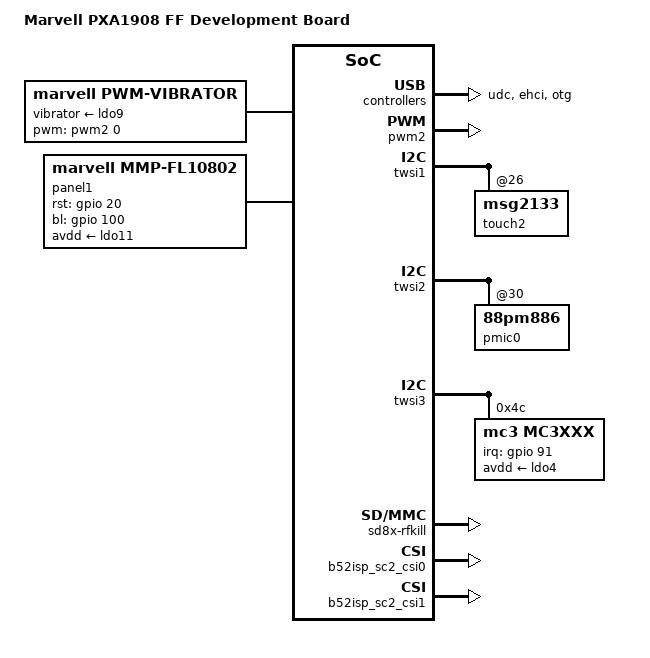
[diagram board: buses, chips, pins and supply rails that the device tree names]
/*
 *  Copyright (C) 2014 Marvell Technology Group Ltd.
 *  Author: Qiming Wu <wuqm@marvell.com>
 *
 *  This program is free software; you can redistribute it and/or modify
 *  it under the terms of the GNU General Public License version 2 as
 *  publishhed by the Free Software Foundation.
 */

/dts-v1/;
#include "pxa1908-board-common.dtsi"

/ {
	model = "Marvell PXA1908 FF Development Board";
	compatible = "marvell,pxa1908";

	soc {
		axi@d4200000 {  /* AXI */
			/* SD card */
			sdh0: sdh@d4280000 {
				cd-gpios = <>;
				marvell,sdh-dtr-data = <PXA_MMC_TIMING_LEGACY PXA_SDH_DTR_26M PXA_SDH_DTR_52M 0 0 0 0 0>,
						<PXA_MMC_TIMING_SD_HS PXA_SDH_DTR_52M PXA_SDH_DTR_104M 0 0 0 0 0>,
						<PXA_MMC_TIMING_MAX PXA_SDH_DTR_PS_NONE PXA_SDH_DTR_104M 0 0 0 0 0>;
			};

			usbphy: usbphy@d4207000 {
				status = "okay";
			};

			udc: udc@d4208100 {
				status = "okay";
			};

			ehci: ehci@d4208100 {
				status = "okay";
			};

			otg: otg@d4208100 {
				status = "okay";
			};
		};

		apb@d4000000 {
			pwm2: pwm@d401a400 {
				compatible = "marvell,pxa25x-pwm";
				reg = <0xd401a400 0x10>;
				#pwm-cells = <2>;
				clocks = <&soc_clocks PXA1U88_CLK_PWM1>;
				status = "okay";
			};

			keypad: keypad@d4012000 {
				marvell,direct-keys;
				marvell,direct-key-low-active;
				marvell,keypad-lpm-mod;
				marvell,direct-key-count = <2>;
				marvell,direct-key-mask = <0xff>;
				marvell,direct-key-map = < 0x72
							   0x73>;
				marvell,debounce-interval = <30>;
				pinctrl-names = "default";
				pinctrl-0 = <&keypad_in_func>;
				status = "okay";
			};

			pmx: pinmux@d401e000 {
				mfp_pins_group_0: mfp_pins_group_0 {
					pinctrl-single,pins = <
						DF_IO9 AF0
						DF_IO10 AF0
						DF_IO11 AF0
						DF_IO12 AF0
						DF_IO13 AF0
						DF_IO15 AF0
					>;
					DS_MEDIUM;PULL_DOWN;EDGE_NONE;LPM_NONE;
				};

				pwm2_pin: pwm2_pin {
					pinctrl-single,pins = <
						GPIO51 AF2
					>;
					MFP_DEFAULT;
				};

				lcd_bl_pin_func: lcd_bl_pin_func {
                                        pinctrl-single,pins = <
                                                DF_IO8 AF1
                                        >;
                                        MFP_DEFAULT;
                                };

				sspa1_func: sspa1_func {
					pinctrl-single,pins = <
						GPIO25 AF7
						GPIO26 AF7
						GPIO27 AF7
						GPIO28 AF7
					>;
					DS_MEDIUM;PULL_NONE;EDGE_NONE;LPM_NONE;
				};
			};

			twsi1: i2c@d4010800 {
				touch2: msg2133@26 {
					focaltech,virtual_key_cfg = <1>;
					status = "okay";
				};
			};

			twsi2: i2c@d4037000 {
				pmic0: 88pm886@30 {
					status = "okay";
					headset {
						marvell,headset-flag = <0>;
					};
				};
			};

			twsi3: i2c@d4013800 {
                                mc3xxx@4c {
					compatible = "mc3, mc3xxx";
					reg = <0x4c>;
					interrupt-parent = <&gpio>;
					interrupts = <91 0x1>;
					irq-gpios = <&gpio 91 0>;
					avdd-supply = <&ldo4>;
					status = "okay";
				};
			};
		};
	};

	vibrator {
		compatible = "marvell,pwm-vibrator";
		pwms = <&pwm2 0 1000>;
		min_timeout = <0>;
		duty_cycle = <800>;
		pinctrl-names = "default";
		pinctrl-0 = <&pwm2_pin>;
		vibrator-supply = <&ldo9>;
	};

	panel1: fl10802 {
		compatible = "marvell,mmp-fl10802";
		marvell,path-name = "mmp_pnpath";
		pinctrl-names = "default";
		pinctrl-0 = <&lcd_bl_pin_func>;
		panel_esd = <0>;
		rst_gpio = <&gpio 20 0>;
		bl_gpio = <&gpio 100 0>;
		avdd-supply = <&ldo11>;
		status = "okay";
	};

	sd8x-rfkill {
		sd-host = <&sdh1>;
		pd-gpio = <&gpio 7 0>;
		wib_3v3-supply = <&ldo15>;
		wib_1v8-supply = <&buck2>;
		3v3-ldo-gpio = <&gpio 14 0>;
		edge-wakeup-gpio = <&gpio 39 0>;
		status = "okay";
	};

	mcam0:mcam@0 {
		sc2-i2c-dyn-ctrl;
		pwdn-gpios = <&gpio 68 0>;
		reset-gpios = <&gpio 67 0>;
		/*
		af_2v8-supply = <&ldo10>;
		avdd_2v8-supply = <&ldo11>;
		dovdd_1v8-supply = <&voutsw>;
		dvdd_1v2-supply = <&ldo12>;
		*/
		dphy_val = <0xff1d00 0x00024733 0x04001001>;
		status = "disable";
	};

	mcam1:mcam@1 {
		sc2-i2c-dyn-ctrl;
		pwdn-gpios = <&gpio 70 0>;
		reset-gpios = <&gpio 69 0>;

		af_2v8-supply = <&ldo11>;
		avdd_2v8-supply = <&ldo10>;
		dovdd_1v8-supply = <&ldo9>;
		dvdd_1v2-supply = <&ldo8>;

		dphy_val = <0x1003 0x0011 0x1001>;
		status = "okay";
	};

	soc-camera@0 {
		status = "okay";
	};

	soc-camera@1 {
		status = "okay";
	};

	soc-camera@2 {
		status = "okay";
	};

	plat_cam {
		status = "okay";
		backsensor {
			compatible = "marvell,backsensor";
			#address-cells = <1>;
			#size-cells = <0>;
			status = "okay";

			OV5670: sensor@0 {
				compatible = "ovt,ov5670";
				status = "okay";
				clocks = <&soc_clocks PXA1U88_CLK_SC2_MCLK>;
				clock-names =  "SC2MCLK";
				reg = <0x36>;
				sc2-i2c-dyn-ctrl;
				adapter = <0x1>;
				sensor-pos = <1>;
				mclk = <26000000>;
				dphy3 = <0x1500>;
				dphy5 = <0xff>;
				dphy6 = <0x1001>;
				af_2v8-supply = <&ldo11>;
				avdd_2v8-supply = <&ldo10>;
				dovdd_1v8-supply = <&ldo9>;
				dvdd_1v2-supply = <&ldo8>;
				pwdn-gpios = <&gpio 68 1>;
				reset-gpios = <&gpio 67 1>;
			};
		};
	};

	b52isp_sc2_csi0 {
	        status = "okay";
	};
	b52isp_sc2_csi1 {
			csi_mux_repacked;
	        status = "okay";
	};
	b52isp_sc2_dma0 {
	        status = "okay";
	};
	b52isp_sc2_dma1 {
	        status = "okay";
	};
};
#include "88pm88x.dtsi"
#include "88pm886.dtsi"
#include "88pm88x_battery_common.dtsi"
#include "88pm88x_sp4555557sa.dtsi"
#include "88pm886_pxa1908_dkb.dtsi"
